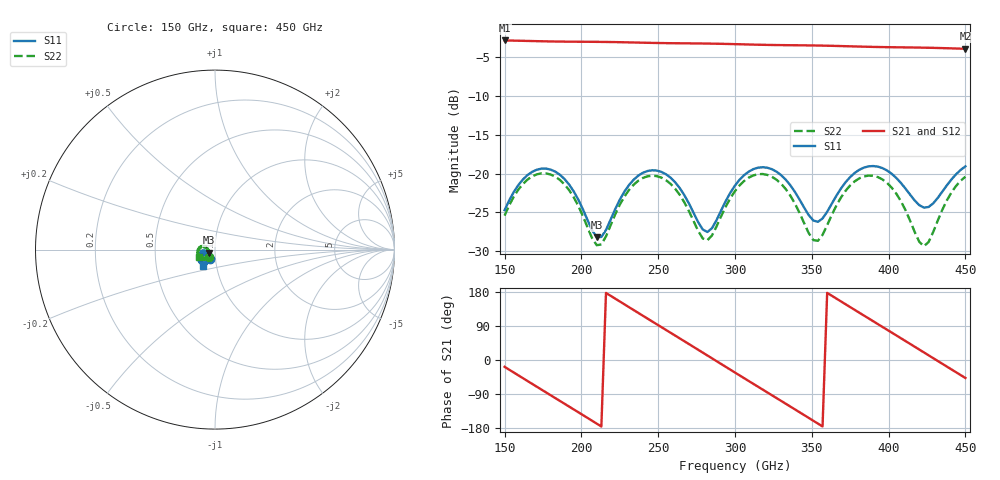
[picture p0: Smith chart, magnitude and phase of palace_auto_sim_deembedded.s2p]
! Created with skrf 1.11.0 (http://scikit-rf.org).
# GHz S DB R 50.0
!freq dBS11 angS11 dBS21 angS21 dBS12 angS12 dBS22 angS22
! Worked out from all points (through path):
!   101 points, 150 GHz to 450 GHz, reference 50 ohm
!   highest |S21| = -2.80 dB at 150 GHz (marker M1); lowest = -3.9 dB at 450 GHz (marker M2)
!   group delay of S21, straight-line fit = 6.94 ps
!   lowest |S11| = -28.2 dB at 210 GHz (marker M3), VSWR 1.08, Z = 46.6 - j1.56 ohm
!   |S11| at or under -10 dB: start of sweep to end of sweep
!   |S22| runs from -29.3 to -20.0 dB; largest |S21 - S12| = 7.9e-14
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150  -24.70 -119.1  -2.80 -18.0  -2.80 -18.0  -25.40 -127.1
165  -20.16 -131.0  -2.87 -55.7  -2.87 -55.7  -20.74 -142.3
177  -19.34 -150.1  -2.92 -85.6  -2.92 -85.6  -19.96 -163.2
189  -20.69 -168.4  -2.95 -115.5  -2.95 -115.5  -21.38 177.0
201  -24.60 -176.1  -2.97 -145.4  -2.97 -145.4  -25.47 168.0
210  -28.18 -154.6  -2.99 -167.9  -2.99 -167.9  -29.23 -169.6
228  -22.31 -121.6  -3.04 146.9  -3.04 146.9  -22.95 -138.4
240  -19.88 -136.1  -3.09 116.9  -3.09 116.9  -20.55 -154.7
252  -19.76 -154.1  -3.14 87.0  -3.14 87.0  -20.50 -174.4
267  -22.76 -170.3  -3.17 49.6  -3.17 49.6  -23.68 167.6
282  -27.52 -143.0  -3.21 12.0  -3.21 12.0  -28.60 -163.9
300  -21.52 -119.8  -3.28 -33.1  -3.28 -33.1  -22.24 -144.2
312  -19.40 -134.0  -3.34 -63.1  -3.34 -63.1  -20.21 -160.8
324  -19.42 -151.0  -3.39 -92.9  -3.39 -92.9  -20.39 179.8
336  -21.48 -163.6  -3.42 -122.8  -3.42 -122.8  -22.82 164.5
351  -26.04 -148.9  -3.45 -160.3  -3.45 -160.3  -28.56 -178.1
366  -22.84 -117.9  -3.51 162.1  -3.51 162.1  -24.11 -143.9
381  -19.48 -128.4  -3.59 124.6  -3.59 124.6  -20.59 -160.3
402  -20.01 -152.8  -3.68 72.4  -3.68 72.4  -21.79 167.4
423  -24.37 -140.6  -3.74 20.0  -3.74 20.0  -29.35 -170.6
435  -22.30 -120.4  -3.79 -10.0  -3.79 -10.0  -24.64 -140.7
450  -19.05 -126.5  -3.88 -47.4  -3.88 -47.4  -20.39 -156.1
